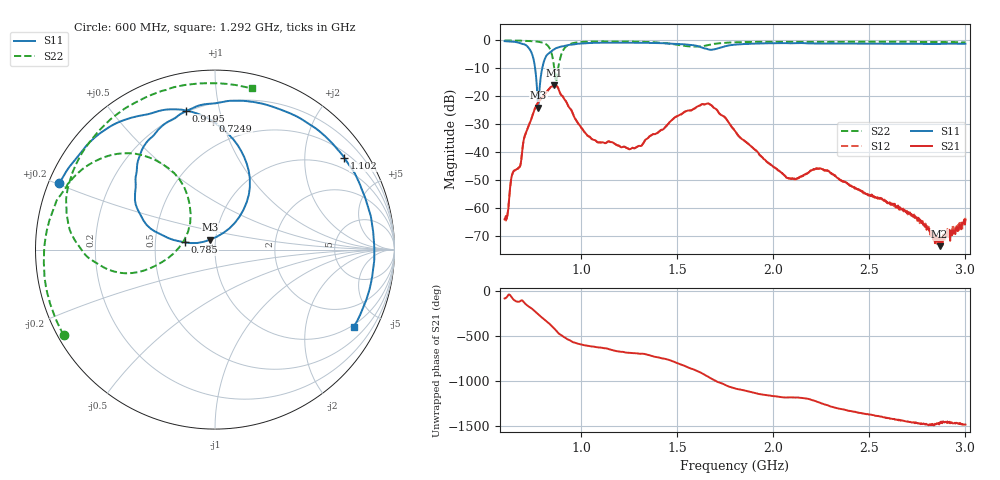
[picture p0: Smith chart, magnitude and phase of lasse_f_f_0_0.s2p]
#  HZ  S  RI  R  50.00
! Rohde & Schwarz ZVB8 2Ports - Version 2.81 - 1145.1010k08 SN: 100113
! Date: 2016-05-04 02:49:39
! Measurements: S11 S21 S12 S22
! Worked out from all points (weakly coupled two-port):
!   1000 points, 600 MHz to 3 GHz, reference 50 ohm
!   highest |S21| = -16.33 dB at 857.1 MHz (marker M1); lowest = -73.7 dB at 2.865 GHz (marker M2)
!   lowest |S11| = -24.3 dB at 775.4 MHz (marker M3), VSWR 1.13, Z = 47.3 + j5.28 ohm
!   |S11| at or under -10 dB: 758.6 MHz to 796.6 MHz (37.99 MHz wide, 4.89 % of centre)
!   |S22| runs from -14.9 to -0.3 dB; largest |S21 - S12| = 0.0014
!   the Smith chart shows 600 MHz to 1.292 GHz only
!   S11 on the Smith chart (normalised r, x): 600 MHz: 0.03, +0.20; 724.9 MHz: 0.32, +0.93; 785 MHz: 0.71, +0.06; 919.5 MHz: 0.19, +0.80; 1.102 GHz: 0.65, +3.02; 1.292 GHz: 0.93, -3.65
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6e8  -0.8666 0.3696  9.5e-05 -0.000622  0.000112 -0.00058  -0.8439 -0.4772
6.408408e8  -0.7175 0.5775  0.000723 -0.00406  0.000758 -0.00398  -0.9101 -0.3246
6.768769e8  -0.4848 0.729  -0.00241 -0.00473  -0.0024 -0.00474  -0.9454 -0.1831
7.249249e8  -0.0136 0.7162  -0.0286 -0.00476  -0.0284 -0.00543  -0.9497 0.0268
7.753754e8  -0.0252 0.0557  -0.0143 0.0747  -0.0157 0.0748  -0.8816 0.2755
7.84985e8  -0.1685 0.0406  0.00991 0.0839  0.00948 0.0832  -0.8435 0.3264
8.09009e8  -0.41 0.1837  0.0784 0.0706  0.0781 0.0704  -0.7245 0.4587
8.570571e8  -0.4191 0.5239  0.0915 -0.1221  0.0922 -0.1214  -0.1532 0.3016
8.858859e8  -0.3151 0.6695  -0.0548 -0.1043  -0.054 -0.1046  -0.3943 -0.1163
9.195195e8  -0.1598 0.7723  -0.0766 -0.0216  -0.0764 -0.022  -0.7513 0.0102
1.001201e9  0.2785 0.8093  -0.0151 0.0216  -0.0152 0.0215  -0.7675 0.4892
1.102102e9  0.7215 0.5097  -0.000534 0.0147  -0.000583 0.0145  -0.4898 0.7937
1.291892e9  0.7736 -0.4285  0.011 0.00566  0.011 0.00577  0.2059 0.8977
1.4e9  0.3788 -0.7823  0.0213 -0.00645  0.0213 -0.00633  0.5696 0.6867
1.657057e9  -0.4939 -0.4637  -0.0489 0.0536  -0.0493 0.053  0.7995 0.0179
1.801201e9  -0.779 -0.2521  0.0233 -0.00137  0.0233 -0.00118  0.7455 -0.4979
2.075075e9  -0.4875 0.7166  -0.000744 -0.00333  -0.000692 -0.00326  -0.0593 -0.911
2.2e9  0.000801 0.8562  -0.00305 -0.00353  -0.00301 -0.00362  -0.4157 -0.8136
2.421021e9  0.7604 0.3866  -0.000307 0.00227  -0.000328 0.00234  -0.82 -0.4145
2.601201e9  0.7609 -0.3729  0.00109 0.000561  0.00109 0.000538  -0.9177 -0.000977
2.865465e9  -0.1083 -0.8316  0.000165 -0.000124  0.000266 -0.000114  -0.7226 0.5492
3e9  -0.5551 -0.6378  0.000436 -0.000424  0.00044 -0.000493  -0.4967 0.7481
